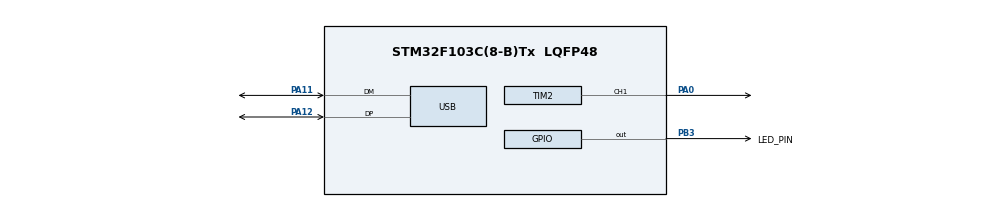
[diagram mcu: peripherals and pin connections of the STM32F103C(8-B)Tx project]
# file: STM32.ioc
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Mcu.Family=STM32F1
Mcu.Name=STM32F103C(8-B)Tx
Mcu.Package=LQFP48
NVIC.PriorityGroup=NVIC_PRIORITYGROUP_4
NVIC.USB_LP_CAN1_RX0_IRQn=true\:0\:0\:false\:false\:true\:false\:true
PA0-WKUP.GPIO_Speed=GPIO_SPEED_FREQ_HIGH
PA0-WKUP.Signal=S_TIM2_CH1_ETR
PA11.Mode=Device
PA11.Signal=USB_DM
PA12.Mode=Device
PA12.Signal=USB_DP
PA13.Mode=Serial_Wire
PA13.Signal=SYS_JTMS-SWDIO
PA14.Mode=Serial_Wire
PA14.Signal=SYS_JTCK-SWCLK
PB3.GPIO_Label=LED_PIN
PB3.Signal=GPIO_Output
PD0-OSC_IN.Mode=HSE-External-Oscillator
PD0-OSC_IN.Signal=RCC_OSC_IN
PD1-OSC_OUT.Mode=HSE-External-Oscillator
PD1-OSC_OUT.Signal=RCC_OSC_OUT
ProjectManager.HeapSize=0x200
ProjectManager.StackSize=0x400
ProjectManager.TargetToolchain=EWARM V8.32
RCC.AHBFreq_Value=48000000
RCC.APB1CLKDivider=RCC_HCLK_DIV2
RCC.APB1Freq_Value=24000000
RCC.APB1TimFreq_Value=48000000
RCC.APB2Freq_Value=48000000
RCC.APB2TimFreq_Value=48000000
RCC.HCLKFreq_Value=48000000
RCC.PLLMUL=RCC_PLL_MUL6
RCC.PLLSourceVirtual=RCC_PLLSOURCE_HSE
RCC.SYSCLKFreq_VALUE=48000000
RCC.SYSCLKSource=RCC_SYSCLKSOURCE_PLLCLK
RCC.USBFreq_Value=48000000
SH.S_TIM2_CH1_ETR.0=TIM2_CH1,PWM Generation1 CH1
TIM2.Channel-PWM\ Generation1\ CH1=TIM_CHANNEL_1
TIM2.Period=2400
USB_DEVICE.APP_RX_DATA_SIZE=64
USB_DEVICE.APP_TX_DATA_SIZE=64
USB_DEVICE.CLASS_NAME_FS=CDC
USB_DEVICE.VirtualMode=Cdc
USB_DEVICE.VirtualModeFS=Cdc_FS
VP_USB_DEVICE_VS_USB_DEVICE_CDC_FS.Mode=CDC_FS
board=custom

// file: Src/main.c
/* USER CODE BEGIN Header */
/**
  ******************************************************************************
  * @file           : main.c
  * @brief          : Main program body
  ******************************************************************************
  * @attention
  *
  * <h2><center>&copy; Copyright (c) 2020 STMicroelectronics.
  * All rights reserved.</center></h2>
  *
  * This software component is licensed by ST under BSD 3-Clause license,
  * the "License"; You may not use this file except in compliance with the
  * License. You may obtain a copy of the License at:
  *                        opensource.org/licenses/BSD-3-Clause
  *
  ******************************************************************************
  */
/* USER CODE END Header */

#include "main.h"
#include "usb_device.h"

/* USER CODE BEGIN Includes */
#include <stdlib.h>
#include <stdbool.h>
#include "STLib.h"
/* USER CODE END Includes */

/* USER CODE BEGIN PD */
#define DUTY_DELTA 24
#define RPM_MIN 600
#define RPM_MAX 2400
/* USER CODE END PD */

/* USER CODE BEGIN PV */
uint16_t Duty_Current = 0;
extern uint8_t UserRxBufferFS[64];
extern USBD_HandleTypeDef hUsbDeviceFS;
uint32_t temp;
/* USER CODE END PV */

void SystemClock_Config(void);
static void MX_GPIO_Init(void);
static void MX_TIM2_Init(void);

/* USER CODE BEGIN 0 */
void Soft_Start()
{
	TIM2->CCMR1 |= TIM_CCMR1_OC2CE;
	TIM2->CCER |= TIM_CCER_CC1E;
	TIM2->CR1 |= TIM_CR1_CEN;
	TIM2->BDTR |= TIM_BDTR_MOE;
	TIM2->CCR1 = Duty_Current;
	//SET_BIT(TIM2->CCER, TIM_CCER_CC1E);
	//SET_BIT(TIM2->CR1, TIM_CR1_CEN);
	//SET_BIT(TIM2->BDTR, TIM_BDTR_MOE);
	for(int i = 0; i<=49; i++)
		{
			Duty_Current = Duty_Current + DUTY_DELTA;
			TIM2->CCR1 = Duty_Current;
			delay_ms(50);
		}
}
/* USER CODE END 0 */

int main(void)
{

  /* MCU Configuration--------------------------------------------------------*/

  /* Reset of all peripherals, Initializes the Flash interface and the Systick. */
  HAL_Init();

  /* Configure the system clock */
  SystemClock_Config();

  /* Initialize all configured peripherals */
  MX_GPIO_Init();
  MX_TIM2_Init();
  MX_USB_DEVICE_Init();
  /* USER CODE BEGIN 2 */
	Soft_Start();
  /* USER CODE END 2 */

  /* Infinite loop */
  while (1)
  {

    /* USER CODE BEGIN 3 */
		//Soft_Start();
		if((hUsbDeviceFS.dev_state == 0x03) && (hUsbDeviceFS.ep0_state == 0x00000004) && (hUsbDeviceFS.ep0_data_len) == 0x00000000)
    {
			SET_BIT(GPIOB->ODR, GPIO_ODR_ODR3);
		}

		if(hUsbDeviceFS.dev_state == 0x04)
    {
			CLEAR_BIT(GPIOB->ODR, GPIO_ODR_ODR3);
		}
		temp = atoi(UserRxBufferFS);
		TIM2->CCR1 = Duty_Current;
		if(temp == 9999)
		{
			for(int i = 0; i<=2; i++)
			{
				TIM2->CCR1 = 2400;
				delay_ms(500);
				TIM2->CCR1 = 1200;
				delay_ms(500);
			}
		}

		if(temp>=66000)
		{
			Duty_Current = RPM_MAX;
		}

		if(temp>=64000 && temp<=65000)
		{
			Duty_Current = 2300;
		}

		if(temp>=62000 && temp<=63000)
		{
			Duty_Current = 2200;
		}

		if(temp>=60000 && temp<=61000)
		{
			Duty_Current = 2100;
		}

		if(temp>=58000 && temp<=59000)
		{
			Duty_Current = 2000;
		}

		if(temp>=56000 && temp<=57000)
		{
			Duty_Current = 1900;
		}

		if(temp>=54000 && temp<=55000)
		{
			Duty_Current = 1800;
		}

		if(temp>=52000 && temp<=53000)
		{
			Duty_Current = 1700;
		}

		if(temp>=50000 && temp<=51000)
		{
			Duty_Current = 1600;
		}

		if(temp>=48000 && temp<=49000)
		{
			Duty_Current = 1500;
		}

		if(temp>=46000 && temp<=47000)
		{
			Duty_Current = 1400;
		}

		if(temp>=44000 && temp<=45000)
		{
			Duty_Current = 1300;
		}

		if(temp>=42000 && temp<=43000)
		{
			Duty_Current = 1200;
		}

		if(temp>=40000 && temp<=41000)
		{
			Duty_Current = 1100;
		}

		if(temp>=38000 && temp<=39000)
		{
			Duty_Current = 1000;
		}

		if(temp>=36000 && temp<=37000)
		{
			Duty_Current = 900;
		}

		if(temp>=34000 && temp<=35000)
		{
			Duty_Current = 800;
		}
		if(temp>=32000 && temp<=33000)
		{
			Duty_Current = 700;
		}
		if(temp>=30000 && temp<=31000)
		{
			Duty_Current = 700;
		}
		if(temp<=29000)
		{
			Duty_Current = RPM_MIN;
		}

  }
  /* USER CODE END 3 */
}

void SystemClock_Config(void)
{
  LL_FLASH_SetLatency(LL_FLASH_LATENCY_1);

  if(LL_FLASH_GetLatency() != LL_FLASH_LATENCY_1)
  {
    Error_Handler();
  }
  LL_RCC_HSE_Enable();

   /* Wait till HSE is ready */
  while(LL_RCC_HSE_IsReady() != 1)
  {

  }
  LL_RCC_PLL_ConfigDomain_SYS(LL_RCC_PLLSOURCE_HSE_DIV_1, LL_RCC_PLL_MUL_6);
  LL_RCC_PLL_Enable();

   /* Wait till PLL is ready */
  while(LL_RCC_PLL_IsReady() != 1)
  {

  }
  LL_RCC_SetAHBPrescaler(LL_RCC_SYSCLK_DIV_1);
  LL_RCC_SetAPB1Prescaler(LL_RCC_APB1_DIV_2);
  LL_RCC_SetAPB2Prescaler(LL_RCC_APB2_DIV_1);
  LL_RCC_SetSysClkSource(LL_RCC_SYS_CLKSOURCE_PLL);

   /* Wait till System clock is ready */
  while(LL_RCC_GetSysClkSource() != LL_RCC_SYS_CLKSOURCE_STATUS_PLL)
  {

  }
  LL_SetSystemCoreClock(48000000);

   /* Update the time base */
  if (HAL_InitTick (TICK_INT_PRIORITY) != HAL_OK)
  {
    Error_Handler();
  };
  LL_RCC_SetUSBClockSource(LL_RCC_USB_CLKSOURCE_PLL);
}

static void MX_TIM2_Init(void)
{

  LL_TIM_InitTypeDef TIM_InitStruct = {0};
  LL_TIM_OC_InitTypeDef TIM_OC_InitStruct = {0};

  LL_GPIO_InitTypeDef GPIO_InitStruct = {0};

  /* Peripheral clock enable */
  LL_APB1_GRP1_EnableClock(LL_APB1_GRP1_PERIPH_TIM2);

  TIM_InitStruct.Prescaler = 0;
  TIM_InitStruct.CounterMode = LL_TIM_COUNTERMODE_UP;
  TIM_InitStruct.Autoreload = 2400;
  TIM_InitStruct.ClockDivision = LL_TIM_CLOCKDIVISION_DIV1;
  LL_TIM_Init(TIM2, &TIM_InitStruct);
  LL_TIM_DisableARRPreload(TIM2);
  LL_TIM_OC_EnablePreload(TIM2, LL_TIM_CHANNEL_CH1);
  TIM_OC_InitStruct.OCMode = LL_TIM_OCMODE_PWM1;
  TIM_OC_InitStruct.OCState = LL_TIM_OCSTATE_DISABLE;
  TIM_OC_InitStruct.OCNState = LL_TIM_OCSTATE_DISABLE;
  TIM_OC_InitStruct.CompareValue = 0;
  TIM_OC_InitStruct.OCPolarity = LL_TIM_OCPOLARITY_HIGH;
  LL_TIM_OC_Init(TIM2, LL_TIM_CHANNEL_CH1, &TIM_OC_InitStruct);
  LL_TIM_OC_DisableFast(TIM2, LL_TIM_CHANNEL_CH1);
  LL_TIM_SetTriggerOutput(TIM2, LL_TIM_TRGO_RESET);
  LL_TIM_DisableMasterSlaveMode(TIM2);
  LL_APB2_GRP1_EnableClock(LL_APB2_GRP1_PERIPH_GPIOA);
  /**TIM2 GPIO Configuration
  PA0-WKUP   ------> TIM2_CH1
  */
  GPIO_InitStruct.Pin = LL_GPIO_PIN_0;
  GPIO_InitStruct.Mode = LL_GPIO_MODE_ALTERNATE;
  GPIO_InitStruct.Speed = LL_GPIO_SPEED_FREQ_HIGH;
  GPIO_InitStruct.OutputType = LL_GPIO_OUTPUT_PUSHPULL;
  LL_GPIO_Init(GPIOA, &GPIO_InitStruct);

}

static void MX_GPIO_Init(void)
{
  LL_GPIO_InitTypeDef GPIO_InitStruct = {0};

  /* GPIO Ports Clock Enable */
  LL_APB2_GRP1_EnableClock(LL_APB2_GRP1_PERIPH_GPIOD);
  LL_APB2_GRP1_EnableClock(LL_APB2_GRP1_PERIPH_GPIOA);
  LL_APB2_GRP1_EnableClock(LL_APB2_GRP1_PERIPH_GPIOB);

  /**/
  LL_GPIO_ResetOutputPin(LED_PIN_GPIO_Port, LED_PIN_Pin);

  /**/
  GPIO_InitStruct.Pin = LED_PIN_Pin;
  GPIO_InitStruct.Mode = LL_GPIO_MODE_OUTPUT;
  GPIO_InitStruct.Speed = LL_GPIO_SPEED_FREQ_LOW;
  GPIO_InitStruct.OutputType = LL_GPIO_OUTPUT_PUSHPULL;
  LL_GPIO_Init(LED_PIN_GPIO_Port, &GPIO_InitStruct);

}

void Error_Handler(void)
{
}

/************************ (C) COPYRIGHT STMicroelectronics *****END OF FILE****/
